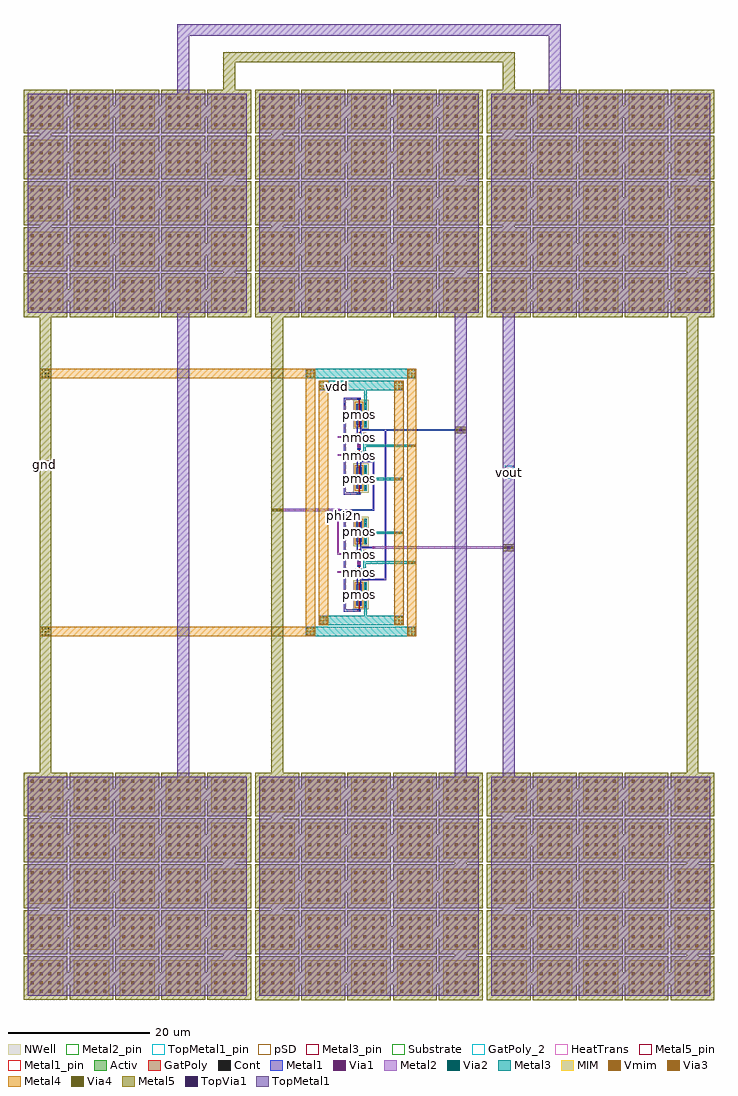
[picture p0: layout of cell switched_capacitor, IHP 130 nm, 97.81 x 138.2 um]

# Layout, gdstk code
import gdstk
lib = gdstk.Library(unit=1e-6, precision=1e-09)
def R(c, l, rs):  # rectangles x0, y0, x1, y1
    for r in rs: c.add(gdstk.rectangle(r[:2], r[2:], *l))
def A(c, l, x, y, w, h, nx, ny, dx, dy):  # array of equal rectangles
    R(c, l, [(x+i*dx, y+j*dy, x+i*dx+w, y+j*dy+h) for i in range(nx) for j in range(ny)])
Activ = (1, 0)
GatPoly = (5, 0)
GatPoly_2 = (5, 2)
Cont = (6, 0)
Metal1 = (8, 0)
Metal1_pin = (8, 2)
Metal2 = (10, 0)
Metal2_pin = (10, 2)
pSD = (14, 0)
Via1 = (19, 0)
Via2 = (29, 0)
Metal3 = (30, 0)
Metal3_pin = (30, 2)
NWell = (31, 0)
MIM = (36, 0)
Substrate = (40, 0)
Via3 = (49, 0)
Metal4 = (50, 0)
HeatTrans = (51, 0)
Via4 = (66, 0)
Metal5 = (67, 0)
Metal5_pin = (67, 2)
TopVia1 = (125, 0)
TopMetal1 = (126, 0)
TopMetal1_pin = (126, 2)
Vmim = (129, 0)

cmim_1 = lib.new_cell('cmim$1')
R(cmim_1, MIM, [(0,0,5,5)])
R(cmim_1, Metal5, [(-0.6,-0.6,5.6,5.6)])
R(cmim_1, TopMetal1, [(-0.02,-0.02,5.02,5.02)])
A(cmim_1, Vmim, 0.4, 0.4, 0.42, 0.42, 4, 4, 1.26, 1.26)

switched_capacitor = lib.new_cell('switched_capacitor')
R(switched_capacitor, Activ, [(22.9,-23.645,23.25,-20.035), (21.78,-23.345,22.59,-20.345), (21.78,-20.645,22.08,-20.345), (22.29,-20.645,22.59,-20.345), (22.8,-19.195,23.165,-18.03), (21.78,-19.105,22.59,-18.105), (21.78,-18.405,22.08,-18.105), (22.29,-18.405,22.59,-18.105), (22.8,-16.65,23.165,-15.485), (21.78,-16.575,22.08,-16.275), (21.78,-16.575,22.59,-15.575), (22.29,-16.575,22.59,-16.275), (22.9,-14.645,23.25,-11.035), (21.78,-14.335,22.08,-14.035), (21.78,-14.335,22.59,-11.335), (22.29,-14.335,22.59,-14.035), (22.9,-7.095,23.25,-3.485), (21.78,-6.795,22.59,-3.795), (21.78,-4.095,22.08,-3.795), (22.29,-4.095,22.59,-3.795), (22.8,-2.645,23.165,-1.48), (21.78,-2.555,22.59,-1.555), (21.78,-1.855,22.08,-1.555), (22.29,-1.855,22.59,-1.555), (22.8,-0.08,23.165,1.085), (21.78,-0.005,22.08,0.295), (21.78,-0.005,22.59,0.995), (22.29,-0.005,22.59,0.295), (22.9,1.925,23.25,5.535), (21.78,2.235,22.08,2.535), (21.78,2.235,22.59,5.235), (22.29,2.235,22.59,2.535)])
R(switched_capacitor, GatPoly, [(21.95,-24.19,22.44,-23.885), (22.12,-23.89,22.25,-23.48), (22.12,-23.525,22.25,-22.705), (22.12,-23.525,22.25,-20.165), (22.12,-23.525,22.25,-20.165), (22.12,-19.285,22.25,-17.925), (22.12,-18.105,22.25,-17.695), (21.945,-17.825,22.435,-17.52), (21.945,-17.16,22.435,-16.855), (22.12,-16.985,22.25,-16.575), (22.12,-16.755,22.25,-15.395), (22.12,-14.515,22.25,-11.155), (22.12,-14.515,22.25,-11.155), (22.12,-11.975,22.25,-11.155), (22.12,-11.2,22.25,-10.79), (21.95,-10.795,22.44,-10.49), (21.95,-7.64,22.44,-7.335), (22.12,-7.34,22.25,-6.93), (22.12,-6.975,22.25,-6.155), (22.12,-6.975,22.25,-3.615), (22.12,-6.975,22.25,-3.615), (22.12,-2.735,22.25,-1.375), (22.12,-1.555,22.25,-1.145), (21.94,-1.275,22.43,-0.97), (21.94,-0.59,22.43,-0.285), (22.12,-0.415,22.25,-0.005), (22.12,-0.185,22.25,1.175), (22.12,2.055,22.25,5.415), (22.12,2.055,22.25,5.415), (22.12,4.595,22.25,5.415), (22.12,5.37,22.25,5.78), (21.95,5.775,22.44,6.08)])
R(switched_capacitor, GatPoly_2, [(22.12,-19.285,22.25,-17.925), (22.12,-16.755,22.25,-15.395), (22.12,-2.735,22.25,-1.375), (22.12,-0.185,22.25,1.175)])
A(switched_capacitor, Cont, 21.85, -22.885, 0.16, 0.16, 1, 7, 0, 0.385)
A(switched_capacitor, Cont, 22.36, -22.885, 0.16, 0.16, 1, 7, 0, 0.385)
A(switched_capacitor, Cont, 22.995, -21.115, 0.16, 0.16, 1, 3, 0, 0.37)
A(switched_capacitor, Cont, 22.36, -19.035, 0.16, 0.16, 1, 3, 0, 0.35)
A(switched_capacitor, Cont, 22.36, -16.505, 0.16, 0.16, 1, 3, 0, 0.35)
A(switched_capacitor, Cont, 22.995, -14.465, 0.16, 0.16, 1, 3, 0, 0.37)
A(switched_capacitor, Cont, 21.85, -14.265, 0.16, 0.16, 1, 7, 0, 0.385)
A(switched_capacitor, Cont, 22.36, -14.265, 0.16, 0.16, 1, 7, 0, 0.385)
A(switched_capacitor, Cont, 21.85, -6.335, 0.16, 0.16, 1, 7, 0, 0.385)
A(switched_capacitor, Cont, 22.36, -6.335, 0.16, 0.16, 1, 7, 0, 0.385)
A(switched_capacitor, Cont, 22.995, -4.565, 0.16, 0.16, 1, 3, 0, 0.37)
A(switched_capacitor, Cont, 22.36, -2.485, 0.16, 0.16, 1, 3, 0, 0.35)
A(switched_capacitor, Cont, 21.85, 0.065, 0.16, 0.16, 1, 3, 0, 0.35)
A(switched_capacitor, Cont, 22.36, 0.065, 0.16, 0.16, 1, 3, 0, 0.35)
A(switched_capacitor, Cont, 22.995, 2.105, 0.16, 0.16, 1, 3, 0, 0.37)
A(switched_capacitor, Cont, 21.85, 2.305, 0.16, 0.16, 1, 7, 0, 0.385)
A(switched_capacitor, Cont, 22.36, 2.305, 0.16, 0.16, 1, 7, 0, 0.385)
R(switched_capacitor, Cont, [(22.11,-24.12,22.27,-23.96), (22.995,-23.365,23.155,-23.205), (21.85,-23.275,22.01,-23.115), (22.36,-23.275,22.52,-23.115), (22.995,-22.995,23.155,-22.835), (22.995,-22.61,23.155,-22.45), (22.995,-22.255,23.155,-22.095), (22.995,-21.87,23.155,-21.71), (22.995,-21.5,23.155,-21.34), (22.9,-19.075,23.06,-18.915), (21.85,-19.035,22.01,-18.875), (21.85,-19.035,22.01,-18.875), (21.85,-19.035,22.01,-18.875), (22.9,-18.69,23.06,-18.53), (21.85,-18.685,22.01,-18.525), (21.85,-18.685,22.01,-18.525), (21.85,-18.685,22.01,-18.525), (21.85,-18.335,22.01,-18.175), (21.85,-18.335,22.01,-18.175), (21.85,-18.335,22.01,-18.175), (22.9,-18.335,23.06,-18.175), (22.105,-17.755,22.265,-17.595), (22.105,-17.085,22.265,-16.925), (21.85,-16.505,22.01,-16.345), (21.85,-16.505,22.01,-16.345), (21.85,-16.505,22.01,-16.345), (22.9,-16.505,23.06,-16.345), (21.85,-16.155,22.01,-15.995), (21.85,-16.155,22.01,-15.995), (21.85,-16.155,22.01,-15.995), (22.9,-16.15,23.06,-15.99), (21.85,-15.805,22.01,-15.645), (21.85,-15.805,22.01,-15.645), (21.85,-15.805,22.01,-15.645), (22.9,-15.765,23.06,-15.605), (22.995,-13.34,23.155,-13.18), (22.995,-12.97,23.155,-12.81), (22.995,-12.585,23.155,-12.425), (22.995,-12.23,23.155,-12.07), (22.995,-11.845,23.155,-11.685), (21.85,-11.565,22.01,-11.405), (22.36,-11.565,22.52,-11.405), (22.995,-11.475,23.155,-11.315), (22.11,-10.72,22.27,-10.56), (22.11,-7.57,22.27,-7.41), (22.995,-6.815,23.155,-6.655), (21.85,-6.725,22.01,-6.565), (22.36,-6.725,22.52,-6.565), (22.995,-6.445,23.155,-6.285), (22.995,-6.06,23.155,-5.9), (22.995,-5.705,23.155,-5.545), (22.995,-5.32,23.155,-5.16), (22.995,-4.95,23.155,-4.79), (22.9,-2.525,23.06,-2.365), (21.85,-2.485,22.01,-2.325), (21.85,-2.485,22.01,-2.325), (22.9,-2.14,23.06,-1.98), (21.85,-2.135,22.01,-1.975), (21.85,-2.135,22.01,-1.975), (21.85,-1.785,22.01,-1.625), (21.85,-1.785,22.01,-1.625), (22.9,-1.785,23.06,-1.625), (22.1,-1.205,22.26,-1.045), (22.105,-0.515,22.265,-0.355), (22.9,0.065,23.06,0.225), (22.9,0.42,23.06,0.58), (22.9,0.805,23.06,0.965), (22.995,3.23,23.155,3.39), (22.995,3.6,23.155,3.76), (22.995,3.985,23.155,4.145), (22.995,4.34,23.155,4.5), (22.995,4.725,23.155,4.885), (21.85,5.005,22.01,5.165), (22.36,5.005,22.52,5.165), (22.995,5.095,23.155,5.255), (22.11,5.85,22.27,6.01)])
R(switched_capacitor, Metal1, [(19.985,-24.21,20.29,-10.49), (19.985,-24.19,22.44,-23.885), (21.95,-24.19,22.44,-23.885), (22.9,-23.645,23.25,-20.035), (21.85,-23.345,22.01,-20.345), (21.85,-23.345,22.01,-20.345), (22.36,-23.345,22.52,-20.345), (22.36,-23.345,22.52,-20.345), (21.85,-20.415,22.01,-19.035), (22.36,-20.415,22.52,-19.035), (22.36,-19.745,26.05,-19.53), (25.815,-19.745,26.05,1.615), (22.8,-19.195,23.165,-18.03), (21.61,-19.105,22.01,-18.105), (21.85,-19.105,22.01,-18.105), (21.85,-19.105,22.01,-18.105), (21.85,-19.105,22.01,-18.105), (22.36,-19.105,22.52,-18.105), (21.945,-17.825,22.435,-17.52), (21.945,-17.825,22.435,-16.855), (21.945,-17.16,22.435,-16.855), (22.8,-16.65,23.165,-15.485), (21.61,-16.575,22.01,-15.575), (21.85,-16.575,22.01,-15.575), (21.85,-16.575,22.01,-15.575), (21.85,-16.575,22.01,-15.575), (22.36,-16.575,22.52,-15.575), (21.85,-15.645,22.01,-14.265), (22.36,-15.645,22.52,-14.265), (24.02,-15.33,24.445,-14.955), (22.36,-15.24,24.33,-15.025), (22.9,-14.645,23.25,-11.035), (21.85,-14.335,22.01,-11.335), (21.85,-14.335,22.01,-11.335), (22.36,-14.335,22.52,-11.335), (22.36,-14.335,22.52,-11.335), (19.985,-10.795,22.44,-10.49), (21.95,-10.795,22.44,-10.49), (19,-9.995,19.425,-9.62), (19.1,-9.91,24.33,-9.695), (24.115,-9.91,24.33,-2.845), (19.985,-7.64,22.44,-7.335), (19.985,-7.64,20.29,6.08), (21.95,-7.64,22.44,-7.335), (22.9,-7.095,23.25,-3.485), (21.85,-6.795,22.01,-3.795), (21.85,-6.795,22.01,-3.795), (22.36,-6.795,22.52,-3.795), (22.36,-6.795,22.52,-3.795), (21.85,-3.865,22.01,-2.485), (22.36,-3.865,22.52,-2.485), (22.36,-3.06,24.33,-2.845), (22.8,-2.645,23.165,-1.48), (21.61,-2.555,22.01,-1.555), (21.85,-2.555,22.01,-1.555), (21.85,-2.555,22.01,-1.555), (22.36,-2.555,22.52,-1.555), (21.94,-1.275,22.43,-0.97), (21.94,-1.275,22.43,-0.285), (21.94,-0.59,22.43,-0.285), (22.8,-0.08,23.165,1.085), (21.61,-0.005,22.01,0.995), (21.85,-0.005,22.01,0.995), (22.36,-0.005,22.52,0.995), (21.85,0.925,22.01,2.305), (22.36,0.925,22.52,2.305), (35.76,1.35,37.44,1.67), (22.36,1.4,26.05,1.615), (25.815,1.4,37.44,1.615), (22.9,1.925,23.25,5.535), (21.85,2.235,22.01,5.235), (21.85,2.235,22.01,5.235), (22.36,2.235,22.52,5.235), (22.36,2.235,22.52,5.235), (19.985,5.775,22.44,6.08), (21.95,5.775,22.44,6.08)])
R(switched_capacitor, Metal1_pin, [(21.85,-19.105,22.01,-18.105), (21.85,-19.105,22.01,-18.105), (21.85,-19.105,22.01,-18.105), (22.36,-19.105,22.52,-18.105), (21.85,-16.575,22.01,-15.575), (21.85,-16.575,22.01,-15.575), (21.85,-16.575,22.01,-15.575), (22.36,-16.575,22.52,-15.575), (20.02,-10.715,20.215,-10.535), (21.85,-2.555,22.01,-1.555), (21.85,-2.555,22.01,-1.555), (22.36,-2.555,22.52,-1.555), (21.85,-0.005,22.01,0.995), (22.36,-0.005,22.52,0.995), (20.04,4.905,20.24,5.24)])
R(switched_capacitor, Metal2, [(22.9,-23.645,23.25,-20.035), (22.8,-19.195,23.165,-18.03), (22.8,-19.195,23.165,-18.03), (21.61,-19.105,22.01,-18.105), (19.1,-18.7,21.7,-18.485), (21.945,-17.54,22.435,-17.16), (22.8,-16.65,23.165,-15.485), (22.8,-16.65,23.165,-15.485), (21.61,-16.575,22.01,-15.575), (19.1,-16.175,21.7,-15.96), (19.1,-16.175,19.315,-9.695), (24.02,-15.33,24.445,-14.955), (24.02,-15.33,44.24,-14.955), (42.56,-15.3,44.24,-14.98), (22.9,-14.645,23.25,-11.035), (9.76,-9.995,19.425,-9.62), (19,-9.995,19.425,-9.62), (9.76,-9.97,11.44,-9.65), (22.9,-7.095,23.25,-3.485), (22.8,-2.645,23.165,-1.48), (22.8,-2.645,23.165,-1.48), (21.61,-2.555,22.01,-1.555), (19.175,-2.16,21.775,-1.945), (21.94,-0.97,22.43,-0.59), (22.8,-0.08,23.165,1.085), (22.8,-0.08,23.165,1.085), (21.61,-0.005,22.01,0.995), (19.175,0.39,21.775,0.605), (35.76,1.35,37.44,1.67), (22.9,1.925,23.25,5.535)])
R(switched_capacitor, Metal2_pin, [(19.16,-18.655,19.355,-18.51), (22.115,-17.435,22.265,-17.285), (19.22,-2.13,19.365,-1.965), (22.11,-0.865,22.26,-0.715), (19.22,0.42,19.365,0.585)])
R(switched_capacitor, pSD, [(21.6,-23.645,22.77,-20.045), (22.77,-19.225,23.2,-18), (22.77,-16.68,23.2,-15.455), (21.6,-14.635,22.77,-11.035), (21.6,-7.095,22.77,-3.495), (22.77,-2.675,23.2,-1.45), (22.77,-0.11,23.2,1.115), (21.6,1.935,22.77,5.535)])
A(switched_capacitor, Via1, 22.98, -23.01, 0.19, 0.19, 1, 4, 0, 0.42)
A(switched_capacitor, Via1, 22.98, -13.95, 0.19, 0.19, 1, 3, 0, 0.415)
A(switched_capacitor, Via1, 22.98, -12.7, 0.19, 0.19, 1, 3, 0, 0.42)
A(switched_capacitor, Via1, 22.98, -6.46, 0.19, 0.19, 1, 4, 0, 0.42)
A(switched_capacitor, Via1, 22.98, 2.62, 0.19, 0.19, 1, 3, 0, 0.415)
A(switched_capacitor, Via1, 22.98, 3.87, 0.19, 0.19, 1, 3, 0, 0.42)
R(switched_capacitor, Via1, [(22.98,-23.425,23.17,-23.235), (22.98,-21.335,23.17,-21.145), (22.98,-20.92,23.17,-20.73), (22.98,-20.5,23.17,-20.31), (22.885,-19.04,23.075,-18.85), (22.885,-19.04,23.075,-18.85), (21.725,-18.895,21.915,-18.705), (21.725,-18.485,21.915,-18.295), (22.885,-18.43,23.075,-18.24), (22.885,-18.43,23.075,-18.24), (22.1,-17.455,22.29,-17.265), (22.885,-16.44,23.075,-16.25), (22.885,-16.44,23.075,-16.25), (21.725,-16.365,21.915,-16.175), (21.725,-15.955,21.915,-15.765), (22.885,-15.83,23.075,-15.64), (22.885,-15.83,23.075,-15.64), (24.13,-15.23,24.32,-15.04), (22.98,-14.37,23.17,-14.18), (22.98,-11.445,23.17,-11.255), (19.11,-9.895,19.3,-9.705), (22.98,-6.875,23.17,-6.685), (22.98,-4.785,23.17,-4.595), (22.98,-4.37,23.17,-4.18), (22.98,-3.95,23.17,-3.76), (22.885,-2.49,23.075,-2.3), (22.885,-2.49,23.075,-2.3), (21.725,-2.345,21.915,-2.155), (21.725,-1.935,21.915,-1.745), (22.885,-1.88,23.075,-1.69), (22.885,-1.88,23.075,-1.69), (22.095,-0.885,22.285,-0.695), (22.885,0.13,23.075,0.32), (22.885,0.13,23.075,0.32), (21.725,0.205,21.915,0.395), (21.725,0.615,21.915,0.805), (22.885,0.74,23.075,0.93), (22.885,0.74,23.075,0.93), (35.95,1.415,36.14,1.605), (36.455,1.415,36.645,1.605), (36.955,1.415,37.145,1.605), (22.98,2.2,23.17,2.39), (22.98,5.125,23.17,5.315)])
A(switched_capacitor, Via2, 22.98, -23.01, 0.19, 0.19, 1, 4, 0, 0.42)
A(switched_capacitor, Via2, 22.98, -13.95, 0.19, 0.19, 1, 3, 0, 0.415)
A(switched_capacitor, Via2, 22.98, -12.7, 0.19, 0.19, 1, 3, 0, 0.42)
A(switched_capacitor, Via2, 22.98, -6.46, 0.19, 0.19, 1, 4, 0, 0.42)
A(switched_capacitor, Via2, 22.98, 2.62, 0.19, 0.19, 1, 3, 0, 0.415)
A(switched_capacitor, Via2, 22.98, 3.87, 0.19, 0.19, 1, 3, 0, 0.42)
R(switched_capacitor, Via2, [(22.98,-23.425,23.17,-23.235), (22.98,-21.335,23.17,-21.145), (22.98,-20.92,23.17,-20.73), (22.98,-20.5,23.17,-20.31), (22.885,-19.04,23.075,-18.85), (22.885,-19.04,23.075,-18.85), (22.885,-18.43,23.075,-18.24), (22.885,-18.43,23.075,-18.24), (22.885,-16.44,23.075,-16.25), (22.885,-16.44,23.075,-16.25), (22.885,-15.83,23.075,-15.64), (22.885,-15.83,23.075,-15.64), (42.75,-15.235,42.94,-15.045), (43.255,-15.235,43.445,-15.045), (43.755,-15.235,43.945,-15.045), (22.98,-14.37,23.17,-14.18), (22.98,-11.445,23.17,-11.255), (9.95,-9.905,10.14,-9.715), (10.455,-9.905,10.645,-9.715), (10.955,-9.905,11.145,-9.715), (22.98,-6.875,23.17,-6.685), (22.98,-4.785,23.17,-4.595), (22.98,-4.37,23.17,-4.18), (22.98,-3.95,23.17,-3.76), (22.885,-2.49,23.075,-2.3), (22.885,-2.49,23.075,-2.3), (22.885,-1.88,23.075,-1.69), (22.885,-1.88,23.075,-1.69), (22.885,0.13,23.075,0.32), (22.885,0.13,23.075,0.32), (22.885,0.74,23.075,0.93), (22.885,0.74,23.075,0.93), (35.95,1.415,36.14,1.605), (36.455,1.415,36.645,1.605), (36.955,1.415,37.145,1.605), (22.98,2.2,23.17,2.39), (22.98,5.125,23.17,5.315)])
R(switched_capacitor, Metal3, [(14.655,-27.705,30.315,-26.375), (16.485,-26.105,28.485,-24.775), (22.9,-26.105,23.25,-23.425), (22.9,-23.645,23.25,-20.035), (22.8,-19.195,23.165,-18.03), (22.8,-19.195,23.165,-15.485), (22.8,-17.395,30.315,-17.075), (22.8,-16.65,23.165,-15.485), (42.56,-15.3,44.24,-14.98), (22.9,-14.645,23.25,-11.035), (22.9,-13.195,28.485,-12.875), (9.76,-9.97,11.44,-9.65), (22.9,-7.095,23.25,-3.485), (22.9,-5.575,28.485,-5.255), (22.8,-2.645,23.165,-1.48), (22.8,-2.645,23.165,1.085), (22.8,-0.895,30.315,-0.575), (22.8,-0.08,23.165,1.085), (35.76,1.35,37.44,1.67), (22.9,1.925,23.25,5.535), (22.9,5.315,23.25,8.46), (16.485,7.13,28.485,8.46), (14.655,8.87,30.315,10.2)])
R(switched_capacitor, Metal3_pin, [(18.705,7.36,19.465,8.15)])
R(switched_capacitor, NWell, [(21.35,-23.89,23.525,-19.765), (21.47,-23.655,22.9,-20.035), (21.35,-14.915,23.525,-10.79), (21.47,-14.645,22.9,-11.025), (21.35,-7.34,23.525,-3.215), (21.47,-7.105,22.9,-3.485), (21.35,1.655,23.525,5.78), (21.47,1.925,22.9,5.545)])
R(switched_capacitor, Substrate, [(22.29,-20.645,22.59,-20.345), (22.29,-14.335,22.59,-14.035), (22.29,-4.095,22.59,-3.795), (22.29,2.235,22.59,2.535)])
R(switched_capacitor, Via3, [(29.12,-27.535,29.31,-27.345), (29.12,-27.535,29.31,-27.345), (29.56,-27.535,29.75,-27.345), (29.56,-27.535,29.75,-27.345), (30.01,-27.535,30.2,-27.345), (30.01,-27.535,30.2,-27.345), (14.77,-27.53,14.96,-27.34), (14.77,-27.53,14.96,-27.34), (15.21,-27.53,15.4,-27.34), (15.21,-27.53,15.4,-27.34), (15.66,-27.53,15.85,-27.34), (15.66,-27.53,15.85,-27.34), (29.12,-27.12,29.31,-26.93), (29.12,-27.12,29.31,-26.93), (29.56,-27.12,29.75,-26.93), (29.56,-27.12,29.75,-26.93), (30.01,-27.12,30.2,-26.93), (30.01,-27.12,30.2,-26.93), (14.77,-27.115,14.96,-26.925), (14.77,-27.115,14.96,-26.925), (15.21,-27.115,15.4,-26.925), (15.21,-27.115,15.4,-26.925), (15.66,-27.115,15.85,-26.925), (15.66,-27.115,15.85,-26.925), (29.12,-26.67,29.31,-26.48), (29.12,-26.67,29.31,-26.48), (29.56,-26.67,29.75,-26.48), (29.56,-26.67,29.75,-26.48), (30.01,-26.67,30.2,-26.48), (30.01,-26.67,30.2,-26.48), (14.77,-26.665,14.96,-26.475), (14.77,-26.665,14.96,-26.475), (15.21,-26.665,15.4,-26.475), (15.21,-26.665,15.4,-26.475), (15.66,-26.665,15.85,-26.475), (15.66,-26.665,15.85,-26.475), (16.615,-25.975,16.805,-25.785), (16.615,-25.975,16.805,-25.785), (17.055,-25.975,17.245,-25.785), (17.055,-25.975,17.245,-25.785), (17.505,-25.975,17.695,-25.785), (17.505,-25.975,17.695,-25.785), (27.295,-25.96,27.485,-25.77), (27.295,-25.96,27.485,-25.77), (27.735,-25.96,27.925,-25.77), (27.735,-25.96,27.925,-25.77), (28.185,-25.96,28.375,-25.77), (28.185,-25.96,28.375,-25.77), (16.615,-25.56,16.805,-25.37), (16.615,-25.56,16.805,-25.37), (17.055,-25.56,17.245,-25.37), (17.055,-25.56,17.245,-25.37), (17.505,-25.56,17.695,-25.37), (17.505,-25.56,17.695,-25.37), (27.295,-25.545,27.485,-25.355), (27.295,-25.545,27.485,-25.355), (27.735,-25.545,27.925,-25.355), (27.735,-25.545,27.925,-25.355), (28.185,-25.545,28.375,-25.355), (28.185,-25.545,28.375,-25.355), (16.615,-25.11,16.805,-24.92), (16.615,-25.11,16.805,-24.92), (17.055,-25.11,17.245,-24.92), (17.055,-25.11,17.245,-24.92), (17.505,-25.11,17.695,-24.92), (17.505,-25.11,17.695,-24.92), (27.295,-25.095,27.485,-24.905), (27.295,-25.095,27.485,-24.905), (27.735,-25.095,27.925,-24.905), (27.735,-25.095,27.925,-24.905), (28.185,-25.095,28.375,-24.905), (28.185,-25.095,28.375,-24.905), (29.085,-17.33,29.275,-17.14), (29.565,-17.33,29.755,-17.14), (30.035,-17.33,30.225,-17.14), (42.75,-15.235,42.94,-15.045), (43.255,-15.235,43.445,-15.045), (43.755,-15.235,43.945,-15.045), (27.25,-13.135,27.44,-12.945), (27.73,-13.135,27.92,-12.945), (28.2,-13.135,28.39,-12.945), (9.95,-9.905,10.14,-9.715), (10.455,-9.905,10.645,-9.715), (10.955,-9.905,11.145,-9.715), (27.25,-5.515,27.44,-5.325), (27.73,-5.515,27.92,-5.325), (28.2,-5.515,28.39,-5.325), (29.085,-0.83,29.275,-0.64), (29.565,-0.83,29.755,-0.64), (30.035,-0.83,30.225,-0.64), (35.95,1.415,36.14,1.605), (36.455,1.415,36.645,1.605), (36.955,1.415,37.145,1.605), (16.62,7.25,16.81,7.44), (17.06,7.25,17.25,7.44), (17.51,7.25,17.7,7.44), (27.285,7.275,27.475,7.465), (27.725,7.275,27.915,7.465), (28.175,7.275,28.365,7.465), (16.62,7.665,16.81,7.855), (17.06,7.665,17.25,7.855), (17.51,7.665,17.7,7.855), (27.285,7.69,27.475,7.88), (27.725,7.69,27.915,7.88), (28.175,7.69,28.365,7.88), (16.62,8.115,16.81,8.305), (17.06,8.115,17.25,8.305), (17.51,8.115,17.7,8.305), (27.285,8.14,27.475,8.33), (27.725,8.14,27.915,8.33), (28.175,8.14,28.365,8.33), (14.78,8.985,14.97,9.175), (14.78,8.985,14.97,9.175), (15.22,8.985,15.41,9.175), (15.22,8.985,15.41,9.175), (15.67,8.985,15.86,9.175), (15.67,8.985,15.86,9.175), (29.115,9.015,29.305,9.205), (29.115,9.015,29.305,9.205), (29.555,9.015,29.745,9.205), (29.555,9.015,29.745,9.205), (30.005,9.015,30.195,9.205), (30.005,9.015,30.195,9.205), (14.78,9.4,14.97,9.59), (14.78,9.4,14.97,9.59), (15.22,9.4,15.41,9.59), (15.22,9.4,15.41,9.59), (15.67,9.4,15.86,9.59), (15.67,9.4,15.86,9.59), (29.115,9.43,29.305,9.62), (29.115,9.43,29.305,9.62), (29.555,9.43,29.745,9.62), (29.555,9.43,29.745,9.62), (30.005,9.43,30.195,9.62), (30.005,9.43,30.195,9.62), (14.78,9.85,14.97,10.04), (14.78,9.85,14.97,10.04), (15.22,9.85,15.41,10.04), (15.22,9.85,15.41,10.04), (15.67,9.85,15.86,10.04), (15.67,9.85,15.86,10.04), (29.115,9.88,29.305,10.07), (29.115,9.88,29.305,10.07), (29.555,9.88,29.745,10.07), (29.555,9.88,29.745,10.07), (30.005,9.88,30.195,10.07), (30.005,9.88,30.195,10.07)])
R(switched_capacitor, Metal4, [(-23.05,-27.705,15.985,-26.375), (14.655,-27.705,15.985,10.2), (28.985,-27.705,30.315,10.2), (16.485,-26.105,17.815,8.46), (27.155,-26.105,28.485,8.46), (42.56,-15.3,44.24,-14.98), (9.76,-9.97,11.44,-9.65), (35.76,1.35,37.44,1.67), (-23.05,8.87,15.985,10.2)])
R(switched_capacitor, HeatTrans, [(22.12,-23.525,22.25,-20.165), (22.12,-19.285,22.25,-17.925), (22.12,-16.755,22.25,-15.395), (22.12,-14.515,22.25,-11.155), (22.12,-6.975,22.25,-3.615), (22.12,-2.735,22.25,-1.375), (22.12,-0.185,22.25,1.175), (22.12,2.055,22.25,5.415)])
R(switched_capacitor, Via4, [(-22.765,-27.57,-22.575,-27.38), (-22.325,-27.57,-22.135,-27.38), (-21.875,-27.57,-21.685,-27.38), (-22.765,-27.155,-22.575,-26.965), (-22.325,-27.155,-22.135,-26.965), (-21.875,-27.155,-21.685,-26.965), (-22.765,-26.705,-22.575,-26.515), (-22.325,-26.705,-22.135,-26.515), (-21.875,-26.705,-21.685,-26.515), (42.75,-15.235,42.94,-15.045), (43.255,-15.235,43.445,-15.045), (43.755,-15.235,43.945,-15.045), (9.95,-9.905,10.14,-9.715), (10.455,-9.905,10.645,-9.715), (10.955,-9.905,11.145,-9.715), (35.95,1.415,36.14,1.605), (36.455,1.415,36.645,1.605), (36.955,1.415,37.145,1.605), (-22.765,9.005,-22.575,9.195), (-22.325,9.005,-22.135,9.195), (-21.875,9.005,-21.685,9.195), (-22.765,9.42,-22.575,9.61), (-22.325,9.42,-22.135,9.61), (-21.875,9.42,-21.685,9.61), (-22.765,9.87,-22.575,10.06), (-22.325,9.87,-22.135,10.06), (-21.875,9.87,-21.685,10.06)])
A(switched_capacitor, Metal5, 9.76, -76.94, 27.68, 1.68, 1, 5, 0, 6.5)
A(switched_capacitor, Metal5, 42.56, -76.94, 27.68, 1.68, 1, 5, 0, 6.5)
A(switched_capacitor, Metal5, -23.05, -76.935, 27.68, 1.68, 1, 5, 0, 6.5)
A(switched_capacitor, Metal5, 9.76, 19.76, 27.68, 1.68, 1, 5, 0, 6.5)
A(switched_capacitor, Metal5, 42.56, 19.76, 27.68, 1.68, 1, 5, 0, 6.5)
A(switched_capacitor, Metal5, -23.05, 19.765, 27.68, 1.68, 1, 5, 0, 6.5)
R(switched_capacitor, Metal5, [(35.76,-76.94,37.44,-68.76), (68.56,-76.94,70.24,-68.76), (2.95,-76.935,4.63,-68.755), (9.76,-70.44,11.44,-62.26), (42.56,-70.44,44.24,-62.26), (-23.05,-70.435,-21.37,-62.255), (35.76,-63.94,37.44,-55.76), (68.56,-63.94,70.24,-55.76), (2.95,-63.935,4.63,-55.755), (9.76,-57.44,11.44,-49.26), (42.56,-57.44,44.24,-49.26), (-23.05,-57.435,-21.37,-49.255), (9.76,-49.26,11.44,19.76), (68.56,-49.26,70.24,19.76), (-23.05,-49.255,-21.37,19.765), (42.56,-15.625,44.24,-14.65), (42.56,-15.3,44.24,-14.98), (35.76,1.025,37.44,2), (35.76,1.35,37.44,1.67), (35.76,19.76,37.44,27.94), (68.56,19.76,70.24,27.94), (2.95,19.765,4.63,27.945), (9.76,26.26,11.44,34.44), (42.56,26.26,44.24,34.44), (-23.05,26.265,-21.37,34.445), (35.76,32.76,37.44,40.94), (68.56,32.76,70.24,40.94), (2.95,32.765,4.63,40.945), (9.76,39.26,11.44,47.44), (42.56,39.26,44.24,47.44), (-23.05,39.265,-21.37,47.445), (2.95,47.445,4.63,55), (42.56,47.445,44.24,55), (2.95,53.615,44.24,55)])
R(switched_capacitor, Metal5_pin, [(-22.83,-4.01,-21.585,-2.83)])
R(switched_capacitor, TopVia1, [(43.185,-15.35,43.605,-14.93), (36.385,1.3,36.805,1.72)])
R(switched_capacitor, TopMetal1, [(8.08,-78.62,39.12,-47.58), (40.88,-78.62,71.92,-47.58), (-24.73,-78.615,6.31,-47.575), (35.76,-49.26,37.44,19.76), (42.56,-49.26,44.24,19.76), (-3.55,-49.255,-1.87,19.765), (8.08,18.08,39.12,49.12), (40.88,18.08,71.92,49.12), (-24.73,18.085,6.31,49.125), (49.06,47.44,50.74,58.995), (-3.55,47.445,-1.87,59), (-3.55,57.35,50.74,59)])
R(switched_capacitor, TopMetal1_pin, [(42.835,-5.39,44.065,-3.565)])
switched_capacitor.add(gdstk.Reference(cmim_1, (21.1,18.1)))
switched_capacitor.add(gdstk.Reference(cmim_1, (21.1,24.6)))
switched_capacitor.add(gdstk.Reference(cmim_1, (21.1,31.1)))
switched_capacitor.add(gdstk.Reference(cmim_1, (21.1,37.6)))
switched_capacitor.add(gdstk.Reference(cmim_1, (21.1,44.1)))
switched_capacitor.add(gdstk.Reference(cmim_1, (21.1,-52.6)))
switched_capacitor.add(gdstk.Reference(cmim_1, (21.1,-59.1)))
switched_capacitor.add(gdstk.Reference(cmim_1, (21.1,-65.6)))
switched_capacitor.add(gdstk.Reference(cmim_1, (21.1,-72.1)))
switched_capacitor.add(gdstk.Reference(cmim_1, (21.1,-78.6)))
switched_capacitor.add(gdstk.Reference(cmim_1, (34.1,24.6)))
switched_capacitor.add(gdstk.Reference(cmim_1, (34.1,18.1)))
switched_capacitor.add(gdstk.Reference(cmim_1, (27.6,31.1)))
switched_capacitor.add(gdstk.Reference(cmim_1, (34.1,31.1)))
switched_capacitor.add(gdstk.Reference(cmim_1, (40.9,18.1)))
switched_capacitor.add(gdstk.Reference(cmim_1, (27.6,37.6)))
switched_capacitor.add(gdstk.Reference(cmim_1, (34.1,37.6)))
switched_capacitor.add(gdstk.Reference(cmim_1, (47.4,18.1)))
switched_capacitor.add(gdstk.Reference(cmim_1, (27.6,44.1)))
switched_capacitor.add(gdstk.Reference(cmim_1, (34.1,44.1)))
switched_capacitor.add(gdstk.Reference(cmim_1, (40.9,24.6)))
switched_capacitor.add(gdstk.Reference(cmim_1, (47.4,24.6)))
switched_capacitor.add(gdstk.Reference(cmim_1, (53.9,24.6)))
switched_capacitor.add(gdstk.Reference(cmim_1, (60.4,24.6)))
switched_capacitor.add(gdstk.Reference(cmim_1, (66.9,24.6)))
switched_capacitor.add(gdstk.Reference(cmim_1, (40.9,31.1)))
switched_capacitor.add(gdstk.Reference(cmim_1, (47.4,31.1)))
switched_capacitor.add(gdstk.Reference(cmim_1, (53.9,31.1)))
switched_capacitor.add(gdstk.Reference(cmim_1, (60.4,31.1)))
switched_capacitor.add(gdstk.Reference(cmim_1, (66.9,31.1)))
switched_capacitor.add(gdstk.Reference(cmim_1, (40.9,37.6)))
switched_capacitor.add(gdstk.Reference(cmim_1, (47.4,37.6)))
switched_capacitor.add(gdstk.Reference(cmim_1, (53.9,37.6)))
switched_capacitor.add(gdstk.Reference(cmim_1, (60.4,37.6)))
switched_capacitor.add(gdstk.Reference(cmim_1, (66.9,37.6)))
switched_capacitor.add(gdstk.Reference(cmim_1, (40.9,44.1)))
switched_capacitor.add(gdstk.Reference(cmim_1, (47.4,44.1)))
switched_capacitor.add(gdstk.Reference(cmim_1, (53.9,44.1)))
switched_capacitor.add(gdstk.Reference(cmim_1, (60.4,44.1)))
switched_capacitor.add(gdstk.Reference(cmim_1, (66.9,44.1)))
switched_capacitor.add(gdstk.Reference(cmim_1, (53.9,18.1)))
switched_capacitor.add(gdstk.Reference(cmim_1, (60.4,18.1)))
switched_capacitor.add(gdstk.Reference(cmim_1, (66.9,18.1)))
switched_capacitor.add(gdstk.Reference(cmim_1, (27.6,18.1)))
switched_capacitor.add(gdstk.Reference(cmim_1, (27.6,24.6)))
switched_capacitor.add(gdstk.Reference(cmim_1, (8.1,44.1)))
switched_capacitor.add(gdstk.Reference(cmim_1, (14.6,44.1)))
switched_capacitor.add(gdstk.Reference(cmim_1, (14.6,24.6)))
switched_capacitor.add(gdstk.Reference(cmim_1, (8.1,18.1)))
switched_capacitor.add(gdstk.Reference(cmim_1, (14.6,18.1)))
switched_capacitor.add(gdstk.Reference(cmim_1, (-24.71,18.105)))
switched_capacitor.add(gdstk.Reference(cmim_1, (-18.21,18.105)))
switched_capacitor.add(gdstk.Reference(cmim_1, (-11.71,18.105)))
switched_capacitor.add(gdstk.Reference(cmim_1, (-5.21,18.105)))
switched_capacitor.add(gdstk.Reference(cmim_1, (1.29,18.105)))
switched_capacitor.add(gdstk.Reference(cmim_1, (-24.71,24.605)))
switched_capacitor.add(gdstk.Reference(cmim_1, (-18.21,24.605)))
switched_capacitor.add(gdstk.Reference(cmim_1, (-11.71,24.605)))
switched_capacitor.add(gdstk.Reference(cmim_1, (-5.21,24.605)))
switched_capacitor.add(gdstk.Reference(cmim_1, (1.29,24.605)))
switched_capacitor.add(gdstk.Reference(cmim_1, (-24.71,31.105)))
switched_capacitor.add(gdstk.Reference(cmim_1, (-18.21,31.105)))
switched_capacitor.add(gdstk.Reference(cmim_1, (-11.71,31.105)))
switched_capacitor.add(gdstk.Reference(cmim_1, (-5.21,31.105)))
switched_capacitor.add(gdstk.Reference(cmim_1, (1.29,31.105)))
switched_capacitor.add(gdstk.Reference(cmim_1, (-24.71,37.605)))
switched_capacitor.add(gdstk.Reference(cmim_1, (-18.21,37.605)))
switched_capacitor.add(gdstk.Reference(cmim_1, (-11.71,37.605)))
switched_capacitor.add(gdstk.Reference(cmim_1, (-5.21,37.605)))
switched_capacitor.add(gdstk.Reference(cmim_1, (1.29,37.605)))
switched_capacitor.add(gdstk.Reference(cmim_1, (-24.71,44.105)))
switched_capacitor.add(gdstk.Reference(cmim_1, (-18.21,44.105)))
switched_capacitor.add(gdstk.Reference(cmim_1, (-11.71,44.105)))
switched_capacitor.add(gdstk.Reference(cmim_1, (-5.21,44.105)))
switched_capacitor.add(gdstk.Reference(cmim_1, (1.29,44.105)))
switched_capacitor.add(gdstk.Reference(cmim_1, (8.1,37.6)))
switched_capacitor.add(gdstk.Reference(cmim_1, (14.6,37.6)))
switched_capacitor.add(gdstk.Reference(cmim_1, (8.1,24.6)))
switched_capacitor.add(gdstk.Reference(cmim_1, (8.1,31.1)))
switched_capacitor.add(gdstk.Reference(cmim_1, (14.6,31.1)))
switched_capacitor.add(gdstk.Reference(cmim_1, (1.29,-59.095)))
switched_capacitor.add(gdstk.Reference(cmim_1, (-5.21,-59.095)))
switched_capacitor.add(gdstk.Reference(cmim_1, (-11.71,-59.095)))
switched_capacitor.add(gdstk.Reference(cmim_1, (-18.21,-59.095)))
switched_capacitor.add(gdstk.Reference(cmim_1, (-24.71,-59.095)))
switched_capacitor.add(gdstk.Reference(cmim_1, (1.29,-65.595)))
switched_capacitor.add(gdstk.Reference(cmim_1, (-5.21,-65.595)))
switched_capacitor.add(gdstk.Reference(cmim_1, (-11.71,-65.595)))
switched_capacitor.add(gdstk.Reference(cmim_1, (-18.21,-65.595)))
switched_capacitor.add(gdstk.Reference(cmim_1, (-24.71,-65.595)))
switched_capacitor.add(gdstk.Reference(cmim_1, (1.29,-72.095)))
switched_capacitor.add(gdstk.Reference(cmim_1, (-5.21,-72.095)))
switched_capacitor.add(gdstk.Reference(cmim_1, (-11.71,-72.095)))
switched_capacitor.add(gdstk.Reference(cmim_1, (-18.21,-72.095)))
switched_capacitor.add(gdstk.Reference(cmim_1, (-24.71,-72.095)))
switched_capacitor.add(gdstk.Reference(cmim_1, (1.29,-78.595)))
switched_capacitor.add(gdstk.Reference(cmim_1, (-5.21,-78.595)))
switched_capacitor.add(gdstk.Reference(cmim_1, (-11.71,-78.595)))
switched_capacitor.add(gdstk.Reference(cmim_1, (-18.21,-78.595)))
switched_capacitor.add(gdstk.Reference(cmim_1, (-24.71,-78.595)))
switched_capacitor.add(gdstk.Reference(cmim_1, (1.29,-52.595)))
switched_capacitor.add(gdstk.Reference(cmim_1, (14.6,-52.6)))
switched_capacitor.add(gdstk.Reference(cmim_1, (8.1,-52.6)))
switched_capacitor.add(gdstk.Reference(cmim_1, (-5.21,-52.595)))
switched_capacitor.add(gdstk.Reference(cmim_1, (14.6,-59.1)))
switched_capacitor.add(gdstk.Reference(cmim_1, (8.1,-59.1)))
switched_capacitor.add(gdstk.Reference(cmim_1, (-11.71,-52.595)))
switched_capacitor.add(gdstk.Reference(cmim_1, (14.6,-65.6)))
switched_capacitor.add(gdstk.Reference(cmim_1, (8.1,-65.6)))
switched_capacitor.add(gdstk.Reference(cmim_1, (-18.21,-52.595)))
switched_capacitor.add(gdstk.Reference(cmim_1, (14.6,-72.1)))
switched_capacitor.add(gdstk.Reference(cmim_1, (8.1,-72.1)))
switched_capacitor.add(gdstk.Reference(cmim_1, (-24.71,-52.595)))
switched_capacitor.add(gdstk.Reference(cmim_1, (14.6,-78.6)))
switched_capacitor.add(gdstk.Reference(cmim_1, (8.1,-78.6)))
switched_capacitor.add(gdstk.Reference(cmim_1, (66.9,-72.1)))
switched_capacitor.add(gdstk.Reference(cmim_1, (60.4,-72.1)))
switched_capacitor.add(gdstk.Reference(cmim_1, (53.9,-72.1)))
switched_capacitor.add(gdstk.Reference(cmim_1, (47.4,-72.1)))
switched_capacitor.add(gdstk.Reference(cmim_1, (40.9,-72.1)))
switched_capacitor.add(gdstk.Reference(cmim_1, (34.1,-52.6)))
switched_capacitor.add(gdstk.Reference(cmim_1, (27.6,-52.6)))
switched_capacitor.add(gdstk.Reference(cmim_1, (66.9,-52.6)))
switched_capacitor.add(gdstk.Reference(cmim_1, (60.4,-52.6)))
switched_capacitor.add(gdstk.Reference(cmim_1, (53.9,-52.6)))
switched_capacitor.add(gdstk.Reference(cmim_1, (34.1,-59.1)))
switched_capacitor.add(gdstk.Reference(cmim_1, (27.6,-59.1)))
switched_capacitor.add(gdstk.Reference(cmim_1, (47.4,-52.6)))
switched_capacitor.add(gdstk.Reference(cmim_1, (40.9,-52.6)))
switched_capacitor.add(gdstk.Reference(cmim_1, (66.9,-59.1)))
switched_capacitor.add(gdstk.Reference(cmim_1, (34.1,-65.6)))
switched_capacitor.add(gdstk.Reference(cmim_1, (27.6,-65.6)))
switched_capacitor.add(gdstk.Reference(cmim_1, (60.4,-59.1)))
switched_capacitor.add(gdstk.Reference(cmim_1, (53.9,-59.1)))
switched_capacitor.add(gdstk.Reference(cmim_1, (47.4,-59.1)))
switched_capacitor.add(gdstk.Reference(cmim_1, (34.1,-72.1)))
switched_capacitor.add(gdstk.Reference(cmim_1, (27.6,-72.1)))
switched_capacitor.add(gdstk.Reference(cmim_1, (40.9,-59.1)))
switched_capacitor.add(gdstk.Reference(cmim_1, (66.9,-65.6)))
switched_capacitor.add(gdstk.Reference(cmim_1, (60.4,-65.6)))
switched_capacitor.add(gdstk.Reference(cmim_1, (66.9,-78.6)))
switched_capacitor.add(gdstk.Reference(cmim_1, (60.4,-78.6)))
switched_capacitor.add(gdstk.Reference(cmim_1, (53.9,-78.6)))
switched_capacitor.add(gdstk.Reference(cmim_1, (47.4,-78.6)))
switched_capacitor.add(gdstk.Reference(cmim_1, (40.9,-78.6)))
switched_capacitor.add(gdstk.Reference(cmim_1, (34.1,-78.6)))
switched_capacitor.add(gdstk.Reference(cmim_1, (27.6,-78.6)))
switched_capacitor.add(gdstk.Reference(cmim_1, (53.9,-65.6)))
switched_capacitor.add(gdstk.Reference(cmim_1, (47.4,-65.6)))
switched_capacitor.add(gdstk.Reference(cmim_1, (40.9,-65.6)))
switched_capacitor.add(gdstk.Label('pmos', (22.185,3.735), layer=63, texttype=0))
switched_capacitor.add(gdstk.Label('nmos', (22.185,0.495), layer=63, texttype=0))
switched_capacitor.add(gdstk.Label('pmos', (22.185,-12.835), layer=63, texttype=0))
switched_capacitor.add(gdstk.Label('nmos', (22.185,-16.075), layer=63, texttype=0))
switched_capacitor.add(gdstk.Label('pmos', (22.185,-5.295), layer=63, texttype=0))
switched_capacitor.add(gdstk.Label('nmos', (22.185,-2.055), layer=63, texttype=0))
switched_capacitor.add(gdstk.Label('pmos', (22.185,-21.845), layer=63, texttype=0))
switched_capacitor.add(gdstk.Label('nmos', (22.185,-18.605), layer=63, texttype=0))
switched_capacitor.add(gdstk.Label('pmos', (22.185,3.735), layer=51, texttype=0))
switched_capacitor.add(gdstk.Label('nmos', (22.185,0.495), layer=51, texttype=0))
switched_capacitor.add(gdstk.Label('pmos', (22.185,-12.835), layer=51, texttype=0))
switched_capacitor.add(gdstk.Label('nmos', (22.185,-16.075), layer=51, texttype=0))
switched_capacitor.add(gdstk.Label('pmos', (22.185,-5.295), layer=51, texttype=0))
switched_capacitor.add(gdstk.Label('nmos', (22.185,-2.055), layer=51, texttype=0))
switched_capacitor.add(gdstk.Label('pmos', (22.185,-21.845), layer=51, texttype=0))
switched_capacitor.add(gdstk.Label('nmos', (22.185,-18.605), layer=51, texttype=0))
switched_capacitor.add(gdstk.Label('phi1', (22.16,-0.78), layer=10, texttype=25))
switched_capacitor.add(gdstk.Label('phi2', (22.165,-17.35), layer=10, texttype=25))
switched_capacitor.add(gdstk.Label('Vin', (19.27,0.51), layer=10, texttype=25))
switched_capacitor.add(gdstk.Label('Vcm', (19.27,-2.04), layer=10, texttype=25))
switched_capacitor.add(gdstk.Label('Vfb', (19.215,-18.6), layer=10, texttype=25))
switched_capacitor.add(gdstk.Label('phi1n', (20.125,5.085), layer=8, texttype=25))
switched_capacitor.add(gdstk.Label('phi2n', (20.09,-10.62), layer=8, texttype=25))
switched_capacitor.add(gdstk.Label('vdd', (19.08,7.74), layer=30, texttype=25))
switched_capacitor.add(gdstk.Label('gnd', (-22.285,-3.335), layer=67, texttype=25))
switched_capacitor.add(gdstk.Label('vout', (43.475,-4.47), layer=126, texttype=25))

lib.write_gds('switched_capacitor.gds')
